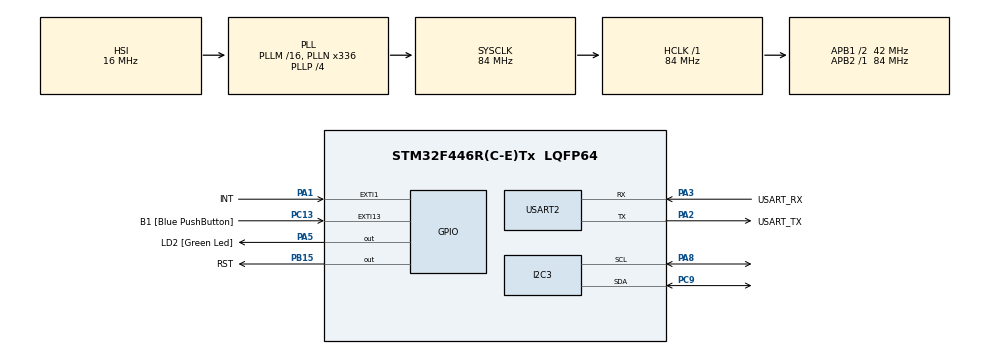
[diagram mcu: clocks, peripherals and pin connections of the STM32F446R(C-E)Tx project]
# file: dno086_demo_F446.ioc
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I2C3.I2C_Mode=I2C_Fast
Mcu.Family=STM32F4
Mcu.Name=STM32F446R(C-E)Tx
Mcu.Package=LQFP64
NVIC.EXTI1_IRQn=true\:0\:1\:false\:false\:true\:true\:true\:true
NVIC.PriorityGroup=NVIC_PRIORITYGROUP_0
PA1.GPIO_Label=INT
PA1.GPIO_ModeDefaultEXTI=GPIO_MODE_IT_FALLING
PA1.GPIO_PuPd=GPIO_PULLUP
PA1.Signal=GPXTI1
PA13.GPIO_Label=TMS
PA13.Signal=SYS_JTMS-SWDIO
PA14.GPIO_Label=TCK
PA14.Signal=SYS_JTCK-SWCLK
PA2.GPIO_Label=USART_TX
PA2.Mode=Asynchronous
PA2.Signal=USART2_TX
PA3.GPIO_Label=USART_RX
PA3.Mode=Asynchronous
PA3.Signal=USART2_RX
PA5.GPIO_Label=LD2 [Green Led]
PA5.Signal=GPIO_Output
PA8.Mode=I2C
PA8.Signal=I2C3_SCL
PB15.GPIO_Label=RST
PB15.Signal=GPIO_Output
PB3.GPIO_Label=SWO
PB3.Signal=SYS_JTDO-SWO
PC13.GPIO_Label=B1 [Blue PushButton]
PC13.GPIO_ModeDefaultEXTI=GPIO_MODE_IT_FALLING
PC13.Signal=GPXTI13
PC14-OSC32_IN.Signal=RCC_OSC32_IN
PC15-OSC32_OUT.Signal=RCC_OSC32_OUT
PC9.Mode=I2C
PC9.Signal=I2C3_SDA
PH0-OSC_IN.Signal=RCC_OSC_IN
PH1-OSC_OUT.Signal=RCC_OSC_OUT
ProjectManager.HeapSize=0x200
ProjectManager.StackSize=0x400
ProjectManager.TargetToolchain=STM32CubeIDE
RCC.AHBFreq_Value=84000000
RCC.APB1CLKDivider=RCC_HCLK_DIV2
RCC.APB1Freq_Value=42000000
RCC.APB1TimFreq_Value=84000000
RCC.APB2Freq_Value=84000000
RCC.APB2TimFreq_Value=84000000
RCC.CortexFreq_Value=84000000
RCC.FLatency-AdvancedSettings=FLASH_LATENCY_2
RCC.HCLKFreq_Value=84000000
RCC.HSE_VALUE=8000000
RCC.HSI_VALUE=16000000
RCC.LSE_VALUE=32768
RCC.PLLN=336
RCC.PLLP=RCC_PLLP_DIV4
RCC.SYSCLKFreq_VALUE=84000000
RCC.SYSCLKSource=RCC_SYSCLKSOURCE_PLLCLK
RCC.USBFreq_Value=168000000
RCC.VCOOutputFreq_Value=336000000
USART2.VirtualMode=VM_ASYNC
board=NUCLEO-F446RE

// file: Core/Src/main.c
/* USER CODE BEGIN Header */
/**
  ******************************************************************************
  * @file           : main.c
  * @brief          : Main program body
  ******************************************************************************
  * @attention
  *
  * Copyright (c) 2026 STMicroelectronics.
  * All rights reserved.
  *
  * This software is licensed under terms that can be found in the LICENSE file
  * in the root directory of this software component.
  * If no LICENSE file comes with this software, it is provided AS-IS.
  *
  ******************************************************************************
  */
/* USER CODE END Header */
#include "main.h"

/* USER CODE BEGIN Includes */
#include "demo_app.h"
#include <stdio.h>
/* USER CODE END Includes */

I2C_HandleTypeDef hi2c3;

UART_HandleTypeDef huart2;

void SystemClock_Config(void);
static void MX_GPIO_Init(void);
static void MX_I2C3_Init(void);
static void MX_USART2_UART_Init(void);
/* USER CODE BEGIN PFP */
// Retarget printf to UART
int __io_putchar(int ch)
{
    HAL_UART_Transmit(&huart2, (uint8_t *)&ch, 1, HAL_MAX_DELAY);
    return ch;
}

void Debug_EXTI_Config(void)
{
    // Read EXTI_RTSR and EXTI_FTSR for line 1
    uint32_t rtsr = EXTI->RTSR;  // rising trigger
    uint32_t ftsr = EXTI->FTSR;  // falling trigger

    printf("EXTI RTSR bit1: %lu\r\n", (rtsr >> 1) & 1);  // should be 0
    printf("EXTI FTSR bit1: %lu\r\n", (ftsr >> 1) & 1);  // should be 1
}
/* USER CODE END PFP */

int main(void)
{

  /* MCU Configuration--------------------------------------------------------*/

  /* Reset of all peripherals, Initializes the Flash interface and the Systick. */
  HAL_Init();

  /* Configure the system clock */
  SystemClock_Config();

  /* Initialize all configured peripherals */
  MX_GPIO_Init();
  MX_I2C3_Init();
  MX_USART2_UART_Init();
  /* USER CODE BEGIN 2 */

  Debug_EXTI_Config();

  BNO_Init(&hi2c3,&huart2,INT_Pin);

  /* USER CODE END 2 */

  /* Infinite loop */
  /* USER CODE BEGIN WHILE */

  float vector[4] = {0};

  while (1)
  {
	  // klicanje funkcije za pridobitev podatkov iz senzorja
      BNO_App(vector);

      // izpis 3. in 4. vrednosti iz vektorja
      printf("R:%6.2f | Gx:%6.3f\r\n",
             vector[2],
             vector[3]);

      HAL_Delay(100);

    /* USER CODE END WHILE */

  }
}

void SystemClock_Config(void)
{
  RCC_OscInitTypeDef RCC_OscInitStruct = {0};
  RCC_ClkInitTypeDef RCC_ClkInitStruct = {0};

  /** Configure the main internal regulator output voltage
  */
  __HAL_RCC_PWR_CLK_ENABLE();
  __HAL_PWR_VOLTAGESCALING_CONFIG(PWR_REGULATOR_VOLTAGE_SCALE3);

  /** Initializes the RCC Oscillators according to the specified parameters
  * in the RCC_OscInitTypeDef structure.
  */
  RCC_OscInitStruct.OscillatorType = RCC_OSCILLATORTYPE_HSI;
  RCC_OscInitStruct.HSIState = RCC_HSI_ON;
  RCC_OscInitStruct.HSICalibrationValue = RCC_HSICALIBRATION_DEFAULT;
  RCC_OscInitStruct.PLL.PLLState = RCC_PLL_ON;
  RCC_OscInitStruct.PLL.PLLSource = RCC_PLLSOURCE_HSI;
  RCC_OscInitStruct.PLL.PLLM = 16;
  RCC_OscInitStruct.PLL.PLLN = 336;
  RCC_OscInitStruct.PLL.PLLP = RCC_PLLP_DIV4;
  RCC_OscInitStruct.PLL.PLLQ = 2;
  RCC_OscInitStruct.PLL.PLLR = 2;
  if (HAL_RCC_OscConfig(&RCC_OscInitStruct) != HAL_OK)
  {
    Error_Handler();
  }

  /** Initializes the CPU, AHB and APB buses clocks
  */
  RCC_ClkInitStruct.ClockType = RCC_CLOCKTYPE_HCLK|RCC_CLOCKTYPE_SYSCLK
                              |RCC_CLOCKTYPE_PCLK1|RCC_CLOCKTYPE_PCLK2;
  RCC_ClkInitStruct.SYSCLKSource = RCC_SYSCLKSOURCE_PLLCLK;
  RCC_ClkInitStruct.AHBCLKDivider = RCC_SYSCLK_DIV1;
  RCC_ClkInitStruct.APB1CLKDivider = RCC_HCLK_DIV2;
  RCC_ClkInitStruct.APB2CLKDivider = RCC_HCLK_DIV1;

  if (HAL_RCC_ClockConfig(&RCC_ClkInitStruct, FLASH_LATENCY_2) != HAL_OK)
  {
    Error_Handler();
  }
}

static void MX_I2C3_Init(void)
{

  hi2c3.Instance = I2C3;
  hi2c3.Init.ClockSpeed = 400000;
  hi2c3.Init.DutyCycle = I2C_DUTYCYCLE_2;
  hi2c3.Init.OwnAddress1 = 0;
  hi2c3.Init.AddressingMode = I2C_ADDRESSINGMODE_7BIT;
  hi2c3.Init.DualAddressMode = I2C_DUALADDRESS_DISABLE;
  hi2c3.Init.OwnAddress2 = 0;
  hi2c3.Init.GeneralCallMode = I2C_GENERALCALL_DISABLE;
  hi2c3.Init.NoStretchMode = I2C_NOSTRETCH_DISABLE;
  if (HAL_I2C_Init(&hi2c3) != HAL_OK)
  {
    Error_Handler();
  }

}

static void MX_USART2_UART_Init(void)
{

  huart2.Instance = USART2;
  huart2.Init.BaudRate = 115200;
  huart2.Init.WordLength = UART_WORDLENGTH_8B;
  huart2.Init.StopBits = UART_STOPBITS_1;
  huart2.Init.Parity = UART_PARITY_NONE;
  huart2.Init.Mode = UART_MODE_TX_RX;
  huart2.Init.HwFlowCtl = UART_HWCONTROL_NONE;
  huart2.Init.OverSampling = UART_OVERSAMPLING_16;
  if (HAL_UART_Init(&huart2) != HAL_OK)
  {
    Error_Handler();
  }

}

static void MX_GPIO_Init(void)
{
  GPIO_InitTypeDef GPIO_InitStruct = {0};

  /* GPIO Ports Clock Enable */
  __HAL_RCC_GPIOC_CLK_ENABLE();
  __HAL_RCC_GPIOH_CLK_ENABLE();
  __HAL_RCC_GPIOA_CLK_ENABLE();
  __HAL_RCC_GPIOB_CLK_ENABLE();

  /*Configure GPIO pin Output Level */
  HAL_GPIO_WritePin(LD2_GPIO_Port, LD2_Pin, GPIO_PIN_RESET);

  /*Configure GPIO pin Output Level */
  HAL_GPIO_WritePin(RST_GPIO_Port, RST_Pin, GPIO_PIN_RESET);

  /*Configure GPIO pin : B1_Pin */
  GPIO_InitStruct.Pin = B1_Pin;
  GPIO_InitStruct.Mode = GPIO_MODE_IT_FALLING;
  GPIO_InitStruct.Pull = GPIO_NOPULL;
  HAL_GPIO_Init(B1_GPIO_Port, &GPIO_InitStruct);

  /*Configure GPIO pin : INT_Pin */
  GPIO_InitStruct.Pin = INT_Pin;
  GPIO_InitStruct.Mode = GPIO_MODE_IT_FALLING;
  GPIO_InitStruct.Pull = GPIO_PULLUP;
  HAL_GPIO_Init(INT_GPIO_Port, &GPIO_InitStruct);

  /*Configure GPIO pin : LD2_Pin */
  GPIO_InitStruct.Pin = LD2_Pin;
  GPIO_InitStruct.Mode = GPIO_MODE_OUTPUT_PP;
  GPIO_InitStruct.Pull = GPIO_NOPULL;
  GPIO_InitStruct.Speed = GPIO_SPEED_FREQ_LOW;
  HAL_GPIO_Init(LD2_GPIO_Port, &GPIO_InitStruct);

  /*Configure GPIO pin : RST_Pin */
  GPIO_InitStruct.Pin = RST_Pin;
  GPIO_InitStruct.Mode = GPIO_MODE_OUTPUT_PP;
  GPIO_InitStruct.Pull = GPIO_NOPULL;
  GPIO_InitStruct.Speed = GPIO_SPEED_FREQ_LOW;
  HAL_GPIO_Init(RST_GPIO_Port, &GPIO_InitStruct);

  /* EXTI interrupt init*/
  HAL_NVIC_SetPriority(EXTI1_IRQn, 0, 1);
  HAL_NVIC_EnableIRQ(EXTI1_IRQn);

}

void Error_Handler(void)
{
  __disable_irq();
  while (1)
  {
  }
}
